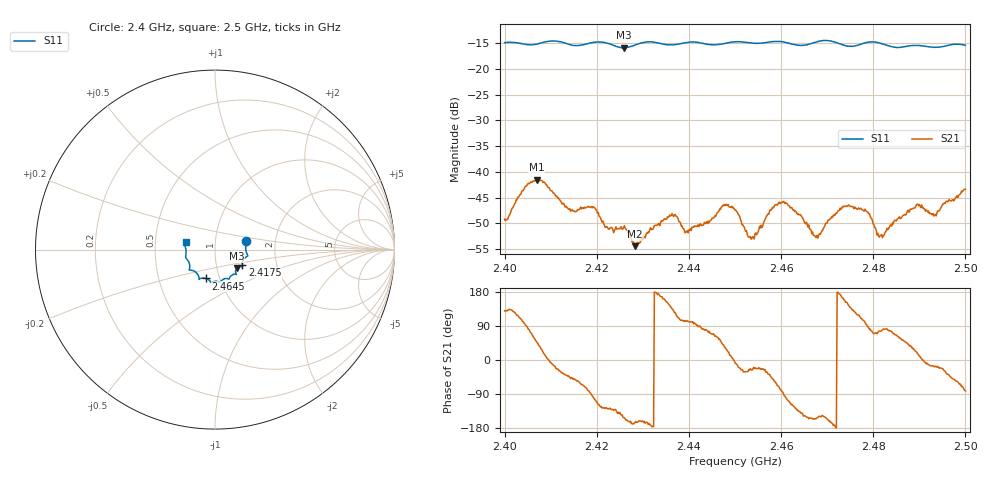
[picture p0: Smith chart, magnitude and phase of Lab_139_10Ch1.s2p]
# Hz S RI R 50
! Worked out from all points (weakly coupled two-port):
!   601 points, 2.4 GHz to 2.5 GHz, reference 50 ohm
!   highest |S21| = -41.54 dB at 2.407 GHz (marker M1); lowest = -54.4 dB at 2.4283 GHz (marker M2)
!   lowest |S11| = -15.9 dB at 2.4258 GHz (marker M3), VSWR 1.38, Z = 62.3 - j13.2 ohm
!   |S11| at or under -10 dB: start of sweep to end of sweep
!   S12 and S22 are empty: the file has one direction only
!   S11 on the Smith chart (normalised r, x): 2.4 GHz: 1.41, +0.14; 2.4175 GHz: 1.34, -0.23; 2.4645 GHz: 0.86, -0.28; 2.5 GHz: 0.72, +0.06
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2.4e9  0.1728 0.049  -0.00222 0.00268  0 0  0 0
2.407e9  0.1735 -0.0103  0.00569 0.00615  0 0  0 0
2.416667e9  0.1528 -0.0739  0.00188 -0.00394  0 0  0 0
2.4175e9  0.1518 -0.0833  0.00137 -0.00427  0 0  0 0
2.425833e9  0.1221 -0.1034  -0.00254 -0.00136  0 0  0 0
2.428333e9  0.1148 -0.126  -0.00183 -0.000503  0 0  0 0
2.433333e9  0.1131 -0.1374  -0.0031 0.000264  0 0  0 0
2.436833e9  0.0883 -0.147  -0.00222 0.0031  0 0  0 0
2.439667e9  0.0794 -0.162  -0.000623 0.00261  0 0  0 0
2.447667e9  0.0366 -0.1721  0.00394 0.00275  0 0  0 0
2.45e9  0.0287 -0.1809  0.00422 -0.000522  0 0  0 0
2.453667e9  0.0129 -0.177  0.00203 -0.00102  0 0  0 0
2.459167e9  -0.0226 -0.1834  0.00184 -0.00437  0 0  0 0
2.4645e9  -0.0517 -0.1607  -0.0028 -0.00235  0 0  0 0
2.466667e9  -0.0759 -0.1594  -0.00226 -0.0011  0 0  0 0
2.474167e9  -0.0986 -0.1346  -0.00414 0.00215  0 0  0 0
2.478667e9  -0.1395 -0.1148  -3.48e-05 0.00408  0 0  0 0
2.4815e9  -0.1423 -0.1063  0.000579 0.00234  0 0  0 0
2.483333e9  -0.1408 -0.0901  0.000625 0.00279  0 0  0 0
2.489667e9  -0.1634 -0.0422  0.00468 0.00129  0 0  0 0
2.493333e9  -0.1614 -0.0105  0.00358 -0.00116  0 0  0 0
2.5e9  -0.1636 0.0435  0.000956 -0.0067  0 0  0 0
